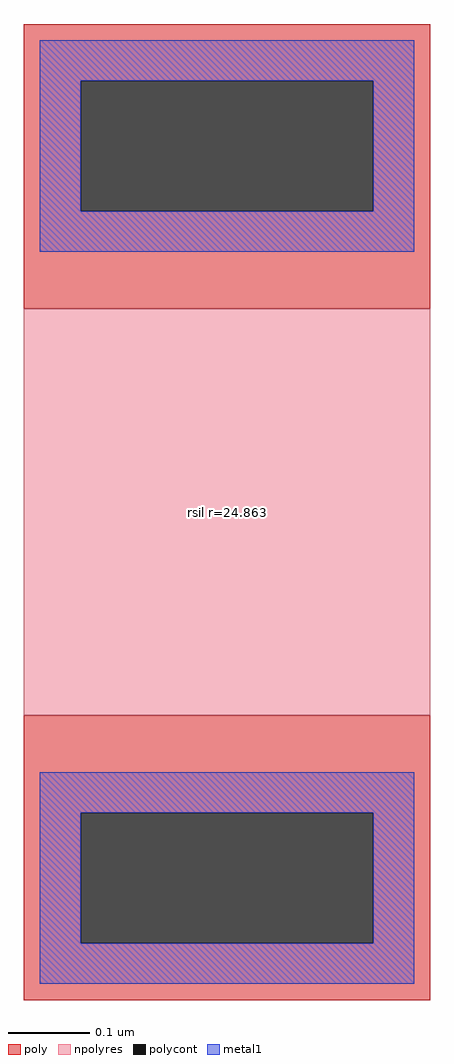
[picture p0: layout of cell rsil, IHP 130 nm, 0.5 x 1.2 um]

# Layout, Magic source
magic
tech ihp-sg13g2
<< poly >>
rect 0 78 50 85
rect 0 62 7 78
rect 43 62 50 78
rect 0 50 50 62
rect 0 -12 50 0
rect 0 -28 7 -12
rect 43 -28 50 -12
rect 0 -35 50 -28
<< polycont >>
rect 7 62 43 78
rect 7 -28 43 -12
<< npolyres >>
rect 0 0 50 50
<< metal1 >>
rect 2 78 48 83
rect 2 62 7 78
rect 43 62 48 78
rect 2 57 48 62
rect 2 -12 48 -7
rect 2 -28 7 -12
rect 43 -28 48 -12
rect 2 -33 48 -28
<< labels >>
flabel comment s 25 25 25 25 0 FreeSans 119 90 0 0 rsil r=24.863
<< end >>
